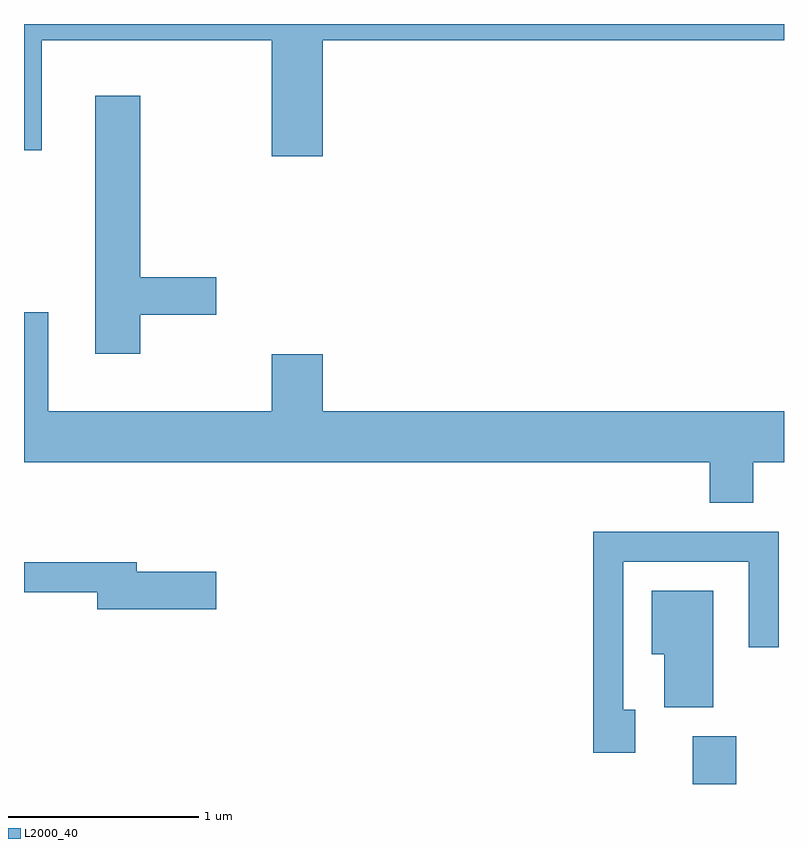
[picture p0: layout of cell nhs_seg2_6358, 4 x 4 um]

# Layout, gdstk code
import gdstk
lib = gdstk.Library(unit=1e-6, precision=1e-09)
def R(c, l, rs):  # rectangles x0, y0, x1, y1
    for r in rs: c.add(gdstk.rectangle(r[:2], r[2:], *l))
def P(c, l, *ps):  # polygons
    for p in ps: c.add(gdstk.Polygon(p, *l))
L2000_40 = (2000, 40)

nhs_seg2_6358 = lib.new_cell('nhs_seg2_6358')
R(nhs_seg2_6358, L2000_40, [(377.131,977.802,377.359,978.054)])
P(nhs_seg2_6358, L2000_40, [(375.184,981.716),(377.611,981.716),(377.611,981.802),(373.611,981.802),(373.611,981.138),(373.704,981.138),(373.704,981.716),(374.916,981.716),(374.916,981.106),(375.184,981.106)],
  [(374.224,980.271),(374.624,980.271),(374.624,980.469),(374.224,980.469),(374.224,981.424),(373.986,981.424),(373.986,980.066),(374.224,980.066)],
  [(377.449,979.496),(377.611,979.496),(377.611,979.764),(375.184,979.764),(375.184,980.064),(374.916,980.064),(374.916,979.764),(373.739,979.764),(373.739,980.284),(373.611,980.284),(373.611,979.496),(377.221,979.496),(377.221,979.281),(377.449,979.281)],
  [(376.829,978.194),(376.764,978.194),(376.764,978.971),(377.426,978.971),(377.426,978.523),(377.584,978.523),(377.584,979.129),(376.606,979.129),(376.606,977.966),(376.829,977.966)],
  [(374.624,978.919),(374.204,978.919),(374.204,978.969),(373.611,978.969),(373.611,978.811),(373.996,978.811),(373.996,978.721),(374.624,978.721)],
  [(377.239,978.819),(376.916,978.819),(376.916,978.486),(376.981,978.486),(376.981,978.206),(377.239,978.206)])

lib.write_gds('nhs_seg2_6358.gds')
